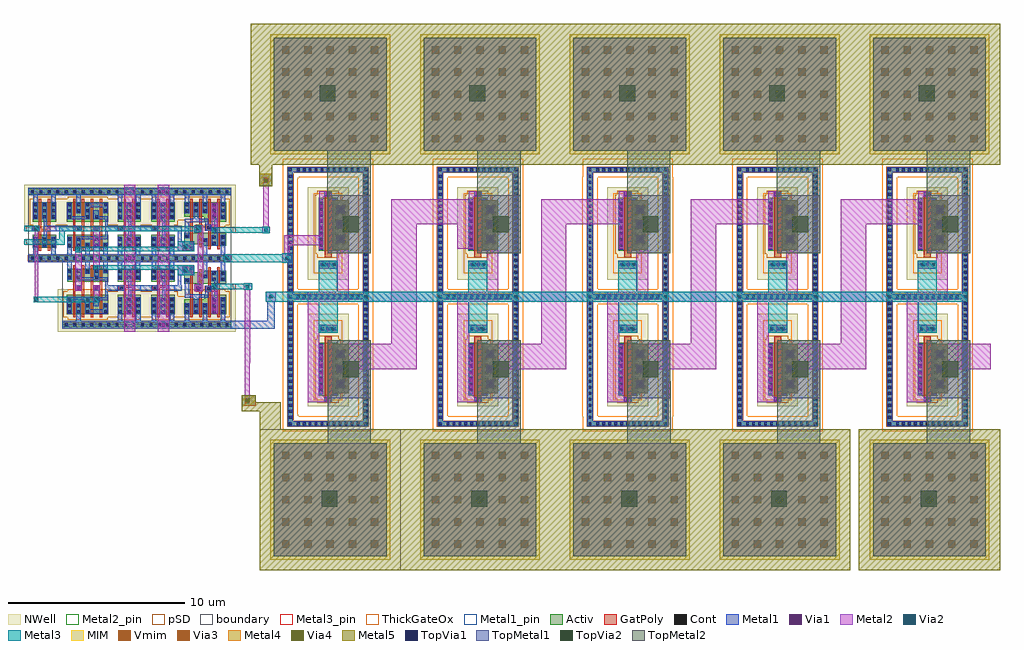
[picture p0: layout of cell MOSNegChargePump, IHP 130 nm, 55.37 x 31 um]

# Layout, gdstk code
import gdstk
lib = gdstk.Library(unit=1e-6, precision=1e-09)
def R(c, l, rs):  # rectangles x0, y0, x1, y1
    for r in rs: c.add(gdstk.rectangle(r[:2], r[2:], *l))
def A(c, l, x, y, w, h, nx, ny, dx, dy):  # array of equal rectangles
    R(c, l, [(x+i*dx, y+j*dy, x+i*dx+w, y+j*dy+h) for i in range(nx) for j in range(ny)])
Activ = (1, 0)
GatPoly = (5, 0)
Cont = (6, 0)
Metal1 = (8, 0)
Metal1_pin = (8, 2)
Metal2 = (10, 0)
Metal2_pin = (10, 2)
pSD = (14, 0)
Via1 = (19, 0)
Via2 = (29, 0)
Metal3 = (30, 0)
Metal3_pin = (30, 2)
NWell = (31, 0)
MIM = (36, 0)
ThickGateOx = (44, 0)
Via3 = (49, 0)
Metal4 = (50, 0)
Via4 = (66, 0)
Metal5 = (67, 0)
TopVia1 = (125, 0)
TopMetal1 = (126, 0)
Vmim = (129, 0)
TopVia2 = (133, 0)
TopMetal2 = (134, 0)
boundary = (189, 4)

sg13g2_nor2_2 = lib.new_cell('sg13g2_nor2_2')
R(sg13g2_nor2_2, Activ, [(0,-0.15,2.88,0.15), (0.28,0.59,2.62,1.33), (0.26,2.06,2.62,3.18), (0,3.63,2.88,3.93)])
A(sg13g2_nor2_2, GatPoly, 0.62, 0.41, 0.13, 1.12, 4, 1, 0.51, 0)
A(sg13g2_nor2_2, GatPoly, 0.62, 1.84, 0.13, 1.52, 4, 1, 0.51, 0)
R(sg13g2_nor2_2, GatPoly, [(0.62,1.53,1.26,1.84), (1.64,1.53,2.28,1.84)])
A(sg13g2_nor2_2, Cont, 0.16, -0.08, 0.16, 0.16, 6, 2, 0.48, 3.78)
A(sg13g2_nor2_2, Cont, 0.35, 0.66, 0.16, 0.16, 5, 1, 0.51, 0)
A(sg13g2_nor2_2, Cont, 0.35, 2.61, 0.16, 0.16, 3, 2, 0.51, 0.34)
R(sg13g2_nor2_2, Cont, [(0.35,1,0.51,1.16), (0.86,1,1.02,1.16), (1.88,1,2.04,1.16), (0.86,1.605,1.02,1.765), (1.88,1.605,2.04,1.765), (0.35,2.27,0.51,2.43), (1.37,2.27,1.53,2.43), (1.88,2.27,2.04,2.43), (2.39,2.61,2.55,2.77), (2.39,2.95,2.55,3.11)])
R(sg13g2_nor2_2, Metal1, [(0,-0.22,2.88,0.22), (0.3,0.22,0.56,1.21), (1.32,0.22,1.58,0.87), (2.34,0.22,2.6,0.865), (1.83,0.59,2.085,1.075), (0.81,0.61,1.065,1.075), (0.81,1.075,2.6,1.24), (2.44,1.24,2.6,2.22), (0.75,1.53,1.13,1.84), (1.77,1.53,2.15,1.84), (0.3,2.22,1.58,2.38), (1.78,2.22,2.6,2.38), (0.3,2.38,0.56,3.16), (1.32,2.38,1.58,2.9), (1.78,2.38,2.09,2.72), (0.81,2.56,1.07,3.56), (2.34,2.56,2.6,2.9), (1.32,2.9,2.6,3.16), (0,3.56,2.88,4)])
R(sg13g2_nor2_2, Metal1_pin, [(0,-0.22,2.88,0.22), (0.75,1.53,1.13,1.84), (1.77,1.53,2.15,1.84), (1.78,2.22,2.09,2.72), (0,3.56,2.88,4)])
R(sg13g2_nor2_2, pSD, [(-0.03,-0.18,2.91,0.18), (0.32,1.76,2.58,1.88), (0.08,1.88,2.8,3.36), (0.32,3.36,2.58,3.48)])
R(sg13g2_nor2_2, NWell, [(-0.24,1.75,3.12,4.17)])
R(sg13g2_nor2_2, boundary, [(0,0,2.88,3.78)])
sg13g2_nor2_2.add(gdstk.Label('A', (0.94,1.685), layer=8, texttype=25))
sg13g2_nor2_2.add(gdstk.Label('VDD', (1.44,3.78), layer=8, texttype=25))
sg13g2_nor2_2.add(gdstk.Label('Y', (1.935,2.47), layer=8, texttype=25))
sg13g2_nor2_2.add(gdstk.Label('VSS', (1.44,0), layer=8, texttype=25))
sg13g2_nor2_2.add(gdstk.Label('B', (1.96,1.685), layer=8, texttype=25))

sg13g2_inv_2 = lib.new_cell('sg13g2_inv_2')
R(sg13g2_inv_2, Activ, [(0,-0.15,1.92,0.15), (0.265,0.59,1.585,1.33), (0.265,2.06,1.59,3.18), (0,3.63,1.92,3.93)])
R(sg13g2_inv_2, GatPoly, [(0.605,0.41,0.735,1.52), (1.115,0.41,1.245,1.52), (0.305,1.52,1.245,1.67), (0.305,1.67,0.735,1.85), (1.115,1.67,1.245,3.36), (0.605,1.85,0.735,3.36)])
A(sg13g2_inv_2, Cont, 0.16, -0.08, 0.16, 0.16, 4, 2, 0.48, 3.78)
A(sg13g2_inv_2, Cont, 0.335, 0.66, 0.16, 0.16, 3, 2, 0.51, 0.34)
A(sg13g2_inv_2, Cont, 0.335, 2.27, 0.16, 0.16, 1, 3, 0, 0.34)
A(sg13g2_inv_2, Cont, 0.845, 2.27, 0.16, 0.16, 1, 3, 0, 0.34)
A(sg13g2_inv_2, Cont, 1.36, 2.27, 0.16, 0.16, 1, 3, 0, 0.34)
R(sg13g2_inv_2, Cont, [(0.39,1.605,0.55,1.765)])
R(sg13g2_inv_2, Metal1, [(0,-0.22,1.92,0.22), (0.285,0.22,0.545,1.21), (1.305,0.22,1.565,1.21), (0.795,0.61,1.055,1.21), (0.87,1.21,1.055,1.52), (0.255,1.52,0.635,1.85), (0.87,1.52,1.59,1.85), (0.87,1.85,1.055,2.22), (0.285,2.22,0.545,3.56), (0.795,2.22,1.055,3.18), (1.31,2.22,1.57,3.56), (0,3.56,1.92,4)])
R(sg13g2_inv_2, Metal1_pin, [(0,-0.22,1.92,0.22), (0.255,1.52,0.635,1.85), (0.87,1.52,1.59,1.85), (0,3.56,1.92,4)])
R(sg13g2_inv_2, pSD, [(-0.03,-0.18,1.95,0.18), (0.305,1.76,1.545,1.88), (0.085,1.88,1.77,3.36), (0.305,3.36,1.545,3.48)])
R(sg13g2_inv_2, NWell, [(-0.24,1.75,2.16,4.17)])
R(sg13g2_inv_2, boundary, [(0,0,1.92,3.78)])
sg13g2_inv_2.add(gdstk.Label('VSS', (0.96,0), layer=8, texttype=25))
sg13g2_inv_2.add(gdstk.Label('VDD', (0.96,3.78), layer=8, texttype=25))
sg13g2_inv_2.add(gdstk.Label('Y', (1.23,1.685), layer=8, texttype=25))
sg13g2_inv_2.add(gdstk.Label('A', (0.445,1.685), layer=8, texttype=25))

sg13g2_and2_2 = lib.new_cell('sg13g2_and2_2')
R(sg13g2_and2_2, Activ, [(0,-0.15,2.88,0.15), (1.355,0.7,2.605,0.8), (0.225,0.8,2.605,1.44), (1.355,2.06,2.605,2.34), (0.225,2.34,2.605,3.18), (0,3.63,2.88,3.93)])
A(sg13g2_and2_2, GatPoly, 1.075, 1.9, 0.13, 1.46, 3, 1, 0.51, 0)
R(sg13g2_and2_2, GatPoly, [(0.105,0.41,0.775,0.73), (1.585,0.52,1.715,1.57), (2.095,0.52,2.225,1.57), (1.075,0.62,1.205,1.57), (0.565,0.73,0.695,3.36), (0.875,1.57,1.205,1.9), (1.385,1.57,2.225,1.9)])
A(sg13g2_and2_2, Cont, 0.16, -0.08, 0.16, 0.16, 6, 2, 0.48, 3.78)
A(sg13g2_and2_2, Cont, 0.295, 2.61, 0.16, 0.16, 5, 2, 0.51, 0.34)
R(sg13g2_and2_2, Cont, [(0.19,0.48,0.35,0.64), (0.53,0.48,0.69,0.64), (1.825,0.77,1.985,0.93), (2.335,0.77,2.495,0.93), (1.315,0.935,1.475,1.095), (1.825,1.11,1.985,1.27), (2.335,1.11,2.495,1.27), (0.295,1.18,0.455,1.34), (0.96,1.655,1.12,1.815), (1.53,1.655,1.69,1.815), (1.825,2.27,1.985,2.43), (2.335,2.27,2.495,2.43)])
R(sg13g2_and2_2, Metal1, [(0,-0.22,2.88,0.22), (1.265,0.22,1.525,1.145), (2.285,0.22,2.545,1.32), (0.105,0.405,0.78,0.96), (1.775,0.72,2.105,1.32), (0.245,1.14,0.505,2.05), (1.92,1.32,2.105,2.22), (0.78,1.47,1.17,1.87), (1.4,1.57,1.74,1.9), (1.4,1.9,1.56,2.05), (0.245,2.05,1.56,2.24), (1.775,2.22,2.105,3.16), (2.285,2.22,2.545,3.56), (0.755,2.24,1.015,3.16), (0.245,2.56,0.505,3.56), (1.265,2.56,1.525,3.56), (0,3.56,2.88,4)])
R(sg13g2_and2_2, Metal1_pin, [(0,-0.22,2.88,0.22), (0.105,0.405,0.78,0.96), (0.78,1.47,1.17,1.87), (1.775,2.22,2.105,3.16), (0,3.56,2.88,4)])
R(sg13g2_and2_2, pSD, [(-0.03,-0.18,2.91,0.18), (1.285,1.76,2.525,1.88), (1.175,1.88,2.785,2.04), (0.265,2.04,2.785,2.16), (0.045,2.16,2.785,3.36), (0.265,3.36,2.525,3.48)])
R(sg13g2_and2_2, NWell, [(-0.24,1.75,3.12,4.17)])
R(sg13g2_and2_2, boundary, [(0,0,2.88,3.78)])
sg13g2_and2_2.add(gdstk.Label('X', (1.94,2.69), layer=8, texttype=25))
sg13g2_and2_2.add(gdstk.Label('VSS', (1.44,0), layer=8, texttype=25))
sg13g2_and2_2.add(gdstk.Label('VDD', (1.44,3.78), layer=8, texttype=25))
sg13g2_and2_2.add(gdstk.Label('B', (0.975,1.67), layer=8, texttype=25))
sg13g2_and2_2.add(gdstk.Label('A', (0.442,0.682), layer=8, texttype=25))

nonovclkgen = lib.new_cell('NonOvCLKGen')
R(nonovclkgen, Metal1, [(16.45,20.35,16.77,20.64), (19.39,21.17,19.62,22.01), (13.29,22.43,14.37,22.76), (15.32,22.43,16.29,22.76), (17.17,22.43,17.63,22.76), (18.43,22.48,18.66,22.74), (11.69,22.49,11.9,22.7), (12.71,22.49,12.91,22.69), (17.4,22.76,17.62,23.32), (17.4,23.32,18.35,23.88), (14.53,24.14,14.85,24.43), (17.4,24.68,18.35,25.24), (17.4,25.24,17.63,25.8), (10.52,25.8,11.98,26.13), (13.29,25.8,14.37,26.13), (15.32,25.8,16.29,26.13), (17.24,25.8,17.63,26.13), (18.41,25.81,18.67,26.09), (9.29,25.86,9.51,26.07), (12.71,25.87,12.91,26.07), (19.4,26.55,19.63,27.39), (16.45,27.91,16.77,28.2)])
R(nonovclkgen, Metal2, [(14.37,20.11,15.01,28.45), (16.29,20.11,16.93,28.45), (19.34,21.12,19.68,22.84), (9.29,21.78,9.51,25.8), (12.66,21.78,12.96,22.44), (18.35,22.41,18.87,22.81), (11.6,22.44,11.98,24.92), (12.62,22.44,13,22.75), (18.56,22.81,18.87,25.75), (17.4,23.32,18.35,23.88), (12.62,23.64,13,26.12), (17.4,24.68,18.35,25.24), (19.34,25.72,19.68,27.44), (18.35,25.75,18.87,26.15), (9.12,25.8,9.57,26.13)])
R(nonovclkgen, Metal2_pin, [(14.37,28.28,15.01,28.45), (16.29,28.28,16.93,28.45)])
R(nonovclkgen, pSD, [(13.65,20.92,13.815,22.4), (15.5,20.92,15.735,22.4), (17.42,20.92,17.615,22.12), (10.7,26.16,10.93,27.64), (13.65,26.16,13.815,27.64), (15.5,26.16,15.735,27.64), (17.42,26.44,17.615,27.64)])
R(nonovclkgen, Via1, [(16.515,20.4,16.705,20.59), (19.41,21.29,19.6,21.48), (19.41,21.7,19.6,21.89), (12.715,22.495,12.905,22.685), (11.7,22.5,11.89,22.69), (18.45,22.515,18.64,22.705), (17.765,23.5,17.955,23.69), (14.595,24.19,14.785,24.38), (17.75,24.85,17.94,25.04), (18.445,25.855,18.635,26.045), (9.305,25.87,9.495,26.06), (12.715,25.875,12.905,26.065), (19.42,26.67,19.61,26.86), (19.42,27.08,19.61,27.27), (16.515,27.96,16.705,28.15)])
R(nonovclkgen, Via2, [(12.715,21.835,12.905,22.025), (9.305,21.845,9.495,22.035), (19.42,22.58,19.61,22.77), (17.765,23.5,17.955,23.69), (12.715,23.665,12.905,23.855), (11.695,24.705,11.885,24.895), (17.75,24.85,17.94,25.04), (19.42,25.79,19.61,25.98), (18.445,25.855,18.635,26.045), (9.305,25.87,9.495,26.06)])
R(nonovclkgen, Metal3, [(9.24,21.78,13,22.09), (19.34,22.51,20.69,22.82), (17.4,23.32,18.35,23.64), (12.62,23.64,18.35,23.88), (11.6,24.62,11.98,24.68), (11.6,24.68,18.35,24.92), (17.4,24.92,18.35,25.24), (8.69,25.05,11.01,25.36), (10.7,25.36,11.01,25.81), (19.34,25.72,20.69,26.03), (18.35,25.75,18.74,25.81), (8.69,25.81,9.56,26.12), (10.7,25.81,18.74,26.09), (18.35,26.09,18.74,26.15)])
R(nonovclkgen, Metal3_pin, [(20.52,22.51,20.69,22.82), (8.69,25.05,8.85,25.36), (20.54,25.72,20.69,26.03), (8.69,25.81,8.85,26.12)])
nonovclkgen.add(gdstk.Reference(sg13g2_nor2_2, (10.85,24.28), x_reflection=True))
nonovclkgen.add(gdstk.Reference(sg13g2_nor2_2, (10.85,24.28)))
nonovclkgen.add(gdstk.Reference(sg13g2_inv_2, (15.65,24.28), x_reflection=True))
nonovclkgen.add(gdstk.Reference(sg13g2_inv_2, (13.73,24.28), x_reflection=True))
nonovclkgen.add(gdstk.Reference(sg13g2_inv_2, (15.65,24.28)))
nonovclkgen.add(gdstk.Reference(sg13g2_inv_2, (13.73,24.28)))
nonovclkgen.add(gdstk.Reference(sg13g2_inv_2, (8.93,24.28)))
nonovclkgen.add(gdstk.Reference(sg13g2_and2_2, (17.57,24.28), x_reflection=True))
nonovclkgen.add(gdstk.Reference(sg13g2_and2_2, (17.57,24.28)))
nonovclkgen.add(gdstk.Label('CLK', (8.77,25.965), layer=30, texttype=25))
nonovclkgen.add(gdstk.Label('ENABLE', (8.77,25.205), layer=30, texttype=25))
nonovclkgen.add(gdstk.Label('CLKA', (20.615,25.875), layer=30, texttype=25))
nonovclkgen.add(gdstk.Label('CLKB', (20.605,22.665), layer=30, texttype=25))
nonovclkgen.add(gdstk.Label('VSS', (14.69,28.365), layer=10, texttype=25))
nonovclkgen.add(gdstk.Label('VDD', (16.61,28.365), layer=10, texttype=25))

cap_cmim_tqjpta = lib.new_cell('cap_cmim_TQJPTA')
R(cap_cmim_tqjpta, MIM, [(-3.4,-3.4,3.4,3.4)])
R(cap_cmim_tqjpta, Metal5, [(-4,-4,4,4)])
R(cap_cmim_tqjpta, TopMetal1, [(-3.2,-3.2,3.2,3.2)])
A(cap_cmim_tqjpta, Vmim, -2.73, -2.73, 0.42, 0.42, 5, 5, 1.26, 1.26)
R(cap_cmim_tqjpta, boundary, [(-4,-4,4,4)])
cap_cmim_tqjpta.add(gdstk.Label('C1', (0,0), layer=126, texttype=25))
cap_cmim_tqjpta.add(gdstk.Label('C2', (3.5,0), layer=67, texttype=25))

mosnegchargepump = lib.new_cell('MOSNegChargePump')
A(mosnegchargepump, Activ, 45.85, 8.16, 4.58, 0.3, 5, 2, 8.5, 14.41)
A(mosnegchargepump, Activ, 47.6, 9.91, 1.08, 3, 5, 2, 8.5, 8.21)
A(mosnegchargepump, Activ, 47.6, 13.47, 1.08, 0.45, 5, 2, 8.5, 3.64)
A(mosnegchargepump, Activ, 45.85, 15.36, 4.58, 0.31, 5, 1, 8.5, 0)
R(mosnegchargepump, Activ, [(45.85,8.46,46.15,15.36), (50.13,8.46,50.43,15.36), (54.35,8.46,54.65,15.36), (58.63,8.46,58.93,15.36), (62.85,8.46,63.15,15.36), (67.13,8.46,67.43,15.36), (71.35,8.46,71.65,15.36), (75.63,8.46,75.93,15.36), (79.85,8.46,80.15,15.36), (84.13,8.46,84.43,15.36), (45.85,15.67,46.15,22.57), (50.13,15.67,50.43,22.57), (54.35,15.67,54.65,22.57), (58.63,15.67,58.93,22.57), (62.85,15.67,63.15,22.57), (67.13,15.67,67.43,22.57), (71.35,15.67,71.65,22.57), (75.63,15.67,75.93,22.57), (79.85,15.67,80.15,22.57), (84.13,15.67,84.43,22.57)])
A(mosnegchargepump, GatPoly, 47.94, 9.54, 0.4, 3.74, 5, 2, 8.5, 8.21)
A(mosnegchargepump, Cont, 46.36, 8.23, 0.16, 0.16, 11, 2, 0.34, 7.21)
A(mosnegchargepump, Cont, 54.86, 8.23, 0.16, 0.16, 11, 2, 0.34, 7.21)
A(mosnegchargepump, Cont, 63.36, 8.23, 0.16, 0.16, 11, 2, 0.34, 7.21)
A(mosnegchargepump, Cont, 71.86, 8.23, 0.16, 0.16, 11, 2, 0.34, 7.21)
A(mosnegchargepump, Cont, 80.36, 8.23, 0.16, 0.16, 11, 2, 0.34, 7.21)
A(mosnegchargepump, Cont, 45.92, 8.605, 0.16, 0.16, 1, 20, 0, 0.34)
A(mosnegchargepump, Cont, 50.2, 8.605, 0.16, 0.16, 1, 20, 0, 0.34)
A(mosnegchargepump, Cont, 54.42, 8.605, 0.16, 0.16, 1, 20, 0, 0.34)
A(mosnegchargepump, Cont, 58.7, 8.605, 0.16, 0.16, 1, 20, 0, 0.34)
A(mosnegchargepump, Cont, 62.92, 8.605, 0.16, 0.16, 1, 20, 0, 0.34)
A(mosnegchargepump, Cont, 67.2, 8.605, 0.16, 0.16, 1, 20, 0, 0.34)
A(mosnegchargepump, Cont, 71.42, 8.605, 0.16, 0.16, 1, 20, 0, 0.34)
A(mosnegchargepump, Cont, 75.7, 8.605, 0.16, 0.16, 1, 20, 0, 0.34)
A(mosnegchargepump, Cont, 79.92, 8.605, 0.16, 0.16, 1, 20, 0, 0.34)
A(mosnegchargepump, Cont, 84.2, 8.605, 0.16, 0.16, 1, 20, 0, 0.34)
A(mosnegchargepump, Cont, 48.06, 9.61, 0.16, 0.16, 5, 2, 8.5, 11.65)
A(mosnegchargepump, Cont, 47.67, 10.14, 0.16, 0.16, 1, 8, 0, 0.34)
A(mosnegchargepump, Cont, 48.45, 10.14, 0.16, 0.16, 1, 8, 0, 0.34)
A(mosnegchargepump, Cont, 56.17, 10.14, 0.16, 0.16, 1, 8, 0, 0.34)
A(mosnegchargepump, Cont, 56.95, 10.14, 0.16, 0.16, 1, 8, 0, 0.34)
A(mosnegchargepump, Cont, 64.67, 10.14, 0.16, 0.16, 1, 8, 0, 0.34)
A(mosnegchargepump, Cont, 65.45, 10.14, 0.16, 0.16, 1, 8, 0, 0.34)
A(mosnegchargepump, Cont, 73.17, 10.14, 0.16, 0.16, 1, 8, 0, 0.34)
A(mosnegchargepump, Cont, 73.95, 10.14, 0.16, 0.16, 1, 8, 0, 0.34)
A(mosnegchargepump, Cont, 81.67, 10.14, 0.16, 0.16, 1, 8, 0, 0.34)
A(mosnegchargepump, Cont, 82.45, 10.14, 0.16, 0.16, 1, 8, 0, 0.34)
A(mosnegchargepump, Cont, 47.725, 13.61, 0.16, 0.16, 3, 2, 0.34, 3.65)
A(mosnegchargepump, Cont, 56.225, 13.61, 0.16, 0.16, 3, 2, 0.34, 3.65)
A(mosnegchargepump, Cont, 64.725, 13.61, 0.16, 0.16, 3, 2, 0.34, 3.65)
A(mosnegchargepump, Cont, 73.225, 13.61, 0.16, 0.16, 3, 2, 0.34, 3.65)
A(mosnegchargepump, Cont, 81.725, 13.61, 0.16, 0.16, 3, 2, 0.34, 3.65)
A(mosnegchargepump, Cont, 45.92, 15.81, 0.16, 0.16, 1, 20, 0, 0.34)
A(mosnegchargepump, Cont, 50.2, 15.81, 0.16, 0.16, 1, 20, 0, 0.34)
A(mosnegchargepump, Cont, 54.42, 15.81, 0.16, 0.16, 1, 20, 0, 0.34)
A(mosnegchargepump, Cont, 58.7, 15.81, 0.16, 0.16, 1, 20, 0, 0.34)
A(mosnegchargepump, Cont, 62.92, 15.81, 0.16, 0.16, 1, 20, 0, 0.34)
A(mosnegchargepump, Cont, 67.2, 15.81, 0.16, 0.16, 1, 20, 0, 0.34)
A(mosnegchargepump, Cont, 71.42, 15.81, 0.16, 0.16, 1, 20, 0, 0.34)
A(mosnegchargepump, Cont, 75.7, 15.81, 0.16, 0.16, 1, 20, 0, 0.34)
A(mosnegchargepump, Cont, 79.92, 15.81, 0.16, 0.16, 1, 20, 0, 0.34)
A(mosnegchargepump, Cont, 84.2, 15.81, 0.16, 0.16, 1, 20, 0, 0.34)
A(mosnegchargepump, Cont, 47.67, 18.35, 0.16, 0.16, 1, 8, 0, 0.34)
A(mosnegchargepump, Cont, 48.45, 18.35, 0.16, 0.16, 1, 8, 0, 0.34)
A(mosnegchargepump, Cont, 56.17, 18.35, 0.16, 0.16, 1, 8, 0, 0.34)
A(mosnegchargepump, Cont, 56.95, 18.35, 0.16, 0.16, 1, 8, 0, 0.34)
A(mosnegchargepump, Cont, 64.67, 18.35, 0.16, 0.16, 1, 8, 0, 0.34)
A(mosnegchargepump, Cont, 65.45, 18.35, 0.16, 0.16, 1, 8, 0, 0.34)
A(mosnegchargepump, Cont, 73.17, 18.35, 0.16, 0.16, 1, 8, 0, 0.34)
A(mosnegchargepump, Cont, 73.95, 18.35, 0.16, 0.16, 1, 8, 0, 0.34)
A(mosnegchargepump, Cont, 81.67, 18.35, 0.16, 0.16, 1, 8, 0, 0.34)
A(mosnegchargepump, Cont, 82.45, 18.35, 0.16, 0.16, 1, 8, 0, 0.34)
A(mosnegchargepump, Cont, 46.36, 22.64, 0.16, 0.16, 11, 1, 0.34, 0)
A(mosnegchargepump, Cont, 54.86, 22.64, 0.16, 0.16, 11, 1, 0.34, 0)
A(mosnegchargepump, Cont, 63.36, 22.64, 0.16, 0.16, 11, 1, 0.34, 0)
A(mosnegchargepump, Cont, 71.86, 22.64, 0.16, 0.16, 11, 1, 0.34, 0)
A(mosnegchargepump, Cont, 80.36, 22.64, 0.16, 0.16, 11, 1, 0.34, 0)
R(mosnegchargepump, Cont, [(45.92,8.23,46.08,8.39), (50.2,8.23,50.36,8.39), (54.42,8.23,54.58,8.39), (58.7,8.23,58.86,8.39), (62.92,8.23,63.08,8.39), (67.2,8.23,67.36,8.39), (71.42,8.23,71.58,8.39), (75.7,8.23,75.86,8.39), (79.92,8.23,80.08,8.39), (84.2,8.23,84.36,8.39), (45.92,15.44,46.08,15.6), (50.2,15.44,50.36,15.6), (54.42,15.44,54.58,15.6), (58.7,15.44,58.86,15.6), (62.92,15.44,63.08,15.6), (67.2,15.44,67.36,15.6), (71.42,15.44,71.58,15.6), (75.7,15.44,75.86,15.6), (79.92,15.44,80.08,15.6), (84.2,15.44,84.36,15.6), (45.92,22.64,46.08,22.8), (50.2,22.64,50.36,22.8), (54.42,22.64,54.58,22.8), (58.7,22.64,58.86,22.8), (62.92,22.64,63.08,22.8), (67.2,22.64,67.36,22.8), (71.42,22.64,71.58,22.8), (75.7,22.64,75.86,22.8), (79.92,22.64,80.08,22.8), (84.2,22.64,84.36,22.8)])
A(mosnegchargepump, Metal1, 45.85, 8.16, 4.58, 0.3, 5, 2, 8.5, 14.41)
A(mosnegchargepump, Metal1, 47.925, 9.585, 0.43, 0.21, 5, 2, 8.5, 11.65)
A(mosnegchargepump, Metal1, 47.62, 9.98, 0.26, 2.86, 5, 2, 8.5, 8.21)
A(mosnegchargepump, Metal1, 48.4, 9.98, 0.26, 0.06, 5, 2, 8.5, 11.01)
A(mosnegchargepump, Metal1, 48.4, 10.04, 0.9, 2.8, 5, 2, 8.5, 8.15)
A(mosnegchargepump, Metal1, 47.6, 13.47, 1.08, 0.45, 5, 2, 8.5, 3.64)
A(mosnegchargepump, Metal1, 50.13, 15.23, 4.52, 0.13, 4, 2, 8.5, 0.44)
R(mosnegchargepump, Metal1, [(45.85,8.46,46.15,15.36), (50.13,8.46,50.43,15.23), (54.35,8.46,54.65,15.23), (58.63,8.46,58.93,15.23), (62.85,8.46,63.15,15.23), (67.13,8.46,67.43,15.23), (71.35,8.46,71.65,15.23), (75.63,8.46,75.93,15.23), (79.85,8.46,80.15,15.23), (84.13,8.46,84.43,15.36), (42.35,13.7,45.12,14.14), (44.68,14.14,45.12,15.23), (44.615,15.23,45.185,15.8), (45.85,15.36,84.43,15.67), (45.85,15.67,46.15,17.43), (84.13,15.67,84.43,22.57), (50.13,15.8,50.43,22.57), (54.35,15.8,54.65,22.57), (58.63,15.8,58.93,22.57), (62.85,15.8,63.15,22.57), (67.13,15.8,67.43,22.57), (71.35,15.8,71.65,22.57), (75.63,15.8,75.93,22.57), (79.85,15.8,80.15,22.57), (45.54,17.43,46.15,17.97), (42.28,17.58,42.55,17.83), (45.85,17.97,46.15,22.57)])
A(mosnegchargepump, Metal2, 46.98, 9.54, 1.29, 0.31, 5, 1, 8.5, 0)
A(mosnegchargepump, Metal2, 46.98, 9.85, 0.9, 2.93, 5, 1, 8.5, 0)
A(mosnegchargepump, Metal2, 48.4, 10.04, 0.9, 1.37, 5, 1, 8.5, 0)
A(mosnegchargepump, Metal2, 48.4, 11.41, 4.76, 1.43, 4, 1, 8.5, 0)
A(mosnegchargepump, Metal2, 46.98, 12.78, 0.67, 2.45, 5, 1, 8.5, 0)
A(mosnegchargepump, Metal2, 51.725, 12.84, 1.435, 6.78, 4, 1, 8.5, 0)
A(mosnegchargepump, Metal2, 48.08, 13.47, 0.6, 0.45, 5, 1, 8.5, 0)
A(mosnegchargepump, Metal2, 46.98, 15.23, 2.32, 0.57, 5, 1, 8.5, 0)
A(mosnegchargepump, Metal2, 48.63, 15.8, 0.67, 2.39, 5, 1, 8.5, 0)
A(mosnegchargepump, Metal2, 47.6, 17.11, 0.6, 0.45, 5, 1, 8.5, 0)
A(mosnegchargepump, Metal2, 48.4, 18.19, 0.9, 2.8, 5, 1, 8.5, 0)
A(mosnegchargepump, Metal2, 64.62, 18.25, 0.26, 1.37, 3, 1, 8.5, 0)
A(mosnegchargepump, Metal2, 51.725, 19.62, 4.655, 1.43, 4, 1, 8.5, 0)
A(mosnegchargepump, Metal2, 56.12, 21.05, 0.26, 0.13, 4, 1, 8.5, 0)
A(mosnegchargepump, Metal2, 56.12, 21.18, 0.65, 0.31, 4, 1, 8.5, 0)
R(mosnegchargepump, Metal2, [(43.41,9.44,43.71,11.78), (82.4,11.41,85.725,12.84), (43.41,11.78,43.72,13.24), (43.42,13.24,43.72,15.92), (44.615,15.23,45.185,15.8), (43.36,15.92,43.85,16.29), (45.54,17.43,46.08,17.97), (42.22,17.48,42.64,17.92), (45.655,17.97,45.965,18.45), (47.62,18.25,47.88,18.45), (55.48,18.25,56.38,19.62), (45.65,18.45,47.88,19), (47.65,19,47.88,21.18), (44.4,19.11,44.83,19.48), (44.46,19.48,44.77,22.29), (51.725,21.05,53.155,21.055), (47.65,21.18,48.27,21.49)])
A(mosnegchargepump, pSD, 45.82, 8.13, 4.64, 0.36, 5, 2, 8.5, 14.41)
A(mosnegchargepump, pSD, 47.54, 9.51, 1.2, 0.22, 5, 2, 8.5, 3.58)
A(mosnegchargepump, pSD, 47.42, 9.73, 1.44, 3.36, 5, 2, 8.5, 8.21)
A(mosnegchargepump, pSD, 45.82, 15.33, 4.64, 0.37, 5, 1, 8.5, 0)
A(mosnegchargepump, pSD, 47.54, 17.72, 1.2, 0.22, 5, 2, 8.5, 3.58)
R(mosnegchargepump, pSD, [(45.82,8.49,46.18,15.33), (50.1,8.49,50.46,15.33), (54.32,8.49,54.68,15.33), (58.6,8.49,58.96,15.33), (62.82,8.49,63.18,15.33), (67.1,8.49,67.46,15.33), (71.32,8.49,71.68,15.33), (75.6,8.49,75.96,15.33), (79.82,8.49,80.18,15.33), (84.1,8.49,84.46,15.33), (45.82,15.7,46.18,22.54), (50.1,15.7,50.46,22.54), (54.32,15.7,54.68,22.54), (58.6,15.7,58.96,22.54), (62.82,15.7,63.18,22.54), (67.1,15.7,67.46,22.54), (71.32,15.7,71.68,22.54), (75.6,15.7,75.96,22.54), (79.82,15.7,80.18,22.54), (84.1,15.7,84.46,22.54)])
A(mosnegchargepump, Via1, 48.045, 9.595, 0.19, 0.19, 5, 2, 8.5, 11.65)
A(mosnegchargepump, Via1, 47.655, 10.29, 0.19, 0.19, 1, 6, 0, 0.41)
A(mosnegchargepump, Via1, 48.54, 10.29, 0.19, 0.19, 1, 6, 0, 0.41)
A(mosnegchargepump, Via1, 48.95, 10.29, 0.19, 0.19, 1, 6, 0, 0.41)
A(mosnegchargepump, Via1, 56.155, 10.29, 0.19, 0.19, 1, 6, 0, 0.41)
A(mosnegchargepump, Via1, 57.04, 10.29, 0.19, 0.19, 1, 6, 0, 0.41)
A(mosnegchargepump, Via1, 57.45, 10.29, 0.19, 0.19, 1, 6, 0, 0.41)
A(mosnegchargepump, Via1, 64.655, 10.29, 0.19, 0.19, 1, 6, 0, 0.41)
A(mosnegchargepump, Via1, 65.54, 10.29, 0.19, 0.19, 1, 6, 0, 0.41)
A(mosnegchargepump, Via1, 65.95, 10.29, 0.19, 0.19, 1, 6, 0, 0.41)
A(mosnegchargepump, Via1, 73.155, 10.29, 0.19, 0.19, 1, 6, 0, 0.41)
A(mosnegchargepump, Via1, 74.04, 10.29, 0.19, 0.19, 1, 6, 0, 0.41)
A(mosnegchargepump, Via1, 74.45, 10.29, 0.19, 0.19, 1, 6, 0, 0.41)
A(mosnegchargepump, Via1, 81.655, 10.29, 0.19, 0.19, 1, 6, 0, 0.41)
A(mosnegchargepump, Via1, 82.54, 10.29, 0.19, 0.19, 1, 6, 0, 0.41)
A(mosnegchargepump, Via1, 82.95, 10.29, 0.19, 0.19, 1, 6, 0, 0.41)
A(mosnegchargepump, Via1, 48.285, 13.595, 0.19, 0.19, 5, 1, 8.5, 0)
A(mosnegchargepump, Via1, 47.82, 17.245, 0.19, 0.19, 5, 1, 8.5, 0)
A(mosnegchargepump, Via1, 47.655, 18.5, 0.19, 0.19, 1, 6, 0, 0.41)
A(mosnegchargepump, Via1, 48.54, 18.5, 0.19, 0.19, 1, 6, 0, 0.41)
A(mosnegchargepump, Via1, 48.95, 18.5, 0.19, 0.19, 1, 6, 0, 0.41)
A(mosnegchargepump, Via1, 56.155, 18.5, 0.19, 0.19, 1, 6, 0, 0.41)
A(mosnegchargepump, Via1, 57.04, 18.5, 0.19, 0.19, 1, 6, 0, 0.41)
A(mosnegchargepump, Via1, 57.45, 18.5, 0.19, 0.19, 1, 6, 0, 0.41)
A(mosnegchargepump, Via1, 64.655, 18.5, 0.19, 0.19, 1, 6, 0, 0.41)
A(mosnegchargepump, Via1, 65.54, 18.5, 0.19, 0.19, 1, 6, 0, 0.41)
A(mosnegchargepump, Via1, 65.95, 18.5, 0.19, 0.19, 1, 6, 0, 0.41)
A(mosnegchargepump, Via1, 73.155, 18.5, 0.19, 0.19, 1, 6, 0, 0.41)
A(mosnegchargepump, Via1, 74.04, 18.5, 0.19, 0.19, 1, 6, 0, 0.41)
A(mosnegchargepump, Via1, 74.45, 18.5, 0.19, 0.19, 1, 6, 0, 0.41)
A(mosnegchargepump, Via1, 81.655, 18.5, 0.19, 0.19, 1, 6, 0, 0.41)
A(mosnegchargepump, Via1, 82.54, 18.5, 0.19, 0.19, 1, 6, 0, 0.41)
A(mosnegchargepump, Via1, 82.95, 18.5, 0.19, 0.19, 1, 6, 0, 0.41)
R(mosnegchargepump, Via1, [(44.805,15.43,44.995,15.62), (45.715,17.605,45.905,17.795), (42.32,17.61,42.51,17.8)])
A(mosnegchargepump, Via2, 48.54, 10.29, 0.19, 0.19, 1, 6, 0, 0.41)
A(mosnegchargepump, Via2, 48.95, 10.29, 0.19, 0.19, 1, 6, 0, 0.41)
A(mosnegchargepump, Via2, 57.04, 10.29, 0.19, 0.19, 1, 6, 0, 0.41)
A(mosnegchargepump, Via2, 57.45, 10.29, 0.19, 0.19, 1, 6, 0, 0.41)
A(mosnegchargepump, Via2, 65.54, 10.29, 0.19, 0.19, 1, 6, 0, 0.41)
A(mosnegchargepump, Via2, 65.95, 10.29, 0.19, 0.19, 1, 6, 0, 0.41)
A(mosnegchargepump, Via2, 74.04, 10.29, 0.19, 0.19, 1, 6, 0, 0.41)
A(mosnegchargepump, Via2, 74.45, 10.29, 0.19, 0.19, 1, 6, 0, 0.41)
A(mosnegchargepump, Via2, 82.54, 10.29, 0.19, 0.19, 1, 6, 0, 0.41)
A(mosnegchargepump, Via2, 82.95, 10.29, 0.19, 0.19, 1, 6, 0, 0.41)
A(mosnegchargepump, Via2, 48.285, 13.595, 0.19, 0.19, 5, 1, 8.5, 0)
A(mosnegchargepump, Via2, 47.82, 17.245, 0.19, 0.19, 5, 1, 8.5, 0)
A(mosnegchargepump, Via2, 48.54, 18.5, 0.19, 0.19, 1, 6, 0, 0.41)
A(mosnegchargepump, Via2, 48.95, 18.5, 0.19, 0.19, 1, 6, 0, 0.41)
A(mosnegchargepump, Via2, 57.04, 18.5, 0.19, 0.19, 1, 6, 0, 0.41)
A(mosnegchargepump, Via2, 57.45, 18.5, 0.19, 0.19, 1, 6, 0, 0.41)
A(mosnegchargepump, Via2, 65.54, 18.5, 0.19, 0.19, 1, 6, 0, 0.41)
A(mosnegchargepump, Via2, 65.95, 18.5, 0.19, 0.19, 1, 6, 0, 0.41)
A(mosnegchargepump, Via2, 74.04, 18.5, 0.19, 0.19, 1, 6, 0, 0.41)
A(mosnegchargepump, Via2, 74.45, 18.5, 0.19, 0.19, 1, 6, 0, 0.41)
A(mosnegchargepump, Via2, 82.54, 18.5, 0.19, 0.19, 1, 6, 0, 0.41)
A(mosnegchargepump, Via2, 82.95, 18.5, 0.19, 0.19, 1, 6, 0, 0.41)
R(mosnegchargepump, Via2, [(43.475,9.525,43.665,9.715), (44.805,15.43,44.995,15.62), (43.48,15.995,43.67,16.185), (45.715,17.605,45.905,17.795), (42.32,17.61,42.51,17.8), (44.52,19.2,44.71,19.39), (44.515,22.015,44.705,22.205)])
A(mosnegchargepump, Metal3, 48.4, 10.04, 0.9, 2.8, 5, 2, 8.5, 8.15)
A(mosnegchargepump, Metal3, 47.6, 13.47, 1.08, 1.76, 5, 2, 8.5, 2.33)
R(mosnegchargepump, Metal3, [(43.23,9.34,44.04,9.93), (44.615,15.23,84.43,15.8), (43.36,15.92,43.85,15.93), (42.71,15.93,43.85,16.24), (43.36,16.24,43.85,16.29), (45.54,17.43,46.08,17.48), (42.22,17.48,46.08,17.92), (45.54,17.92,46.08,17.97), (44.4,19.11,44.83,19.14), (42.84,19.14,44.83,19.45), (44.4,19.45,44.83,19.48), (44.25,21.77,44.97,22.49)])
A(mosnegchargepump, NWell, 46.98, 9.29, 2.32, 5.25, 5, 2, 8.5, 7.2)
A(mosnegchargepump, MIM, 53.36, 0.6, 6.8, 6.8, 4, 1, 8.5, 0)
A(mosnegchargepump, MIM, 44.86, 23.6, 6.8, 6.8, 5, 1, 8.5, 0)
A(mosnegchargepump, ThickGateOx, 46.42, 7.88, 4.28, 0.005, 5, 1, 8.5, 0)
A(mosnegchargepump, ThickGateOx, 46.335, 7.885, 4.365, 0.005, 5, 1, 8.5, 0)
A(mosnegchargepump, ThickGateOx, 45.58, 7.89, 5.12, 0.755, 5, 1, 8.5, 0)
A(mosnegchargepump, ThickGateOx, 45.575, 8.645, 5.13, 0.085, 5, 1, 8.5, 0)
A(mosnegchargepump, ThickGateOx, 45.57, 8.73, 5.14, 0.01, 5, 1, 8.5, 0)
A(mosnegchargepump, ThickGateOx, 45.57, 8.74, 0.945, 0.005, 5, 1, 8.5, 0)
A(mosnegchargepump, ThickGateOx, 49.845, 8.74, 0.865, 0.085, 5, 1, 8.5, 0)
A(mosnegchargepump, ThickGateOx, 45.57, 8.745, 0.865, 0.08, 5, 1, 8.5, 0)
A(mosnegchargepump, ThickGateOx, 47.33, 9.64, 1.62, 4.55, 5, 2, 8.5, 7.2)
A(mosnegchargepump, ThickGateOx, 45.57, 15.085, 5.14, 0.86, 5, 1, 8.5, 0)
A(mosnegchargepump, ThickGateOx, 45.575, 22.3, 5.13, 0.095, 5, 1, 8.5, 0)
A(mosnegchargepump, ThickGateOx, 45.58, 22.395, 5.12, 0.945, 5, 1, 8.5, 0)
R(mosnegchargepump, ThickGateOx, [(45.57,8.825,46.43,15.085), (49.85,8.825,50.71,15.085), (54.07,8.825,54.93,15.085), (58.35,8.825,59.21,15.085), (62.57,8.825,63.43,15.085), (66.85,8.825,67.71,15.085), (71.07,8.825,71.93,15.085), (75.35,8.825,76.21,15.085), (79.57,8.825,80.43,15.085), (83.85,8.825,84.71,15.085), (45.57,15.945,46.43,22.205), (49.85,15.945,50.71,22.205), (54.07,15.945,54.93,22.205), (58.35,15.945,59.21,22.205), (62.57,15.945,63.43,22.205), (66.85,15.945,67.71,22.205), (71.07,15.945,71.93,22.205), (75.35,15.945,76.21,22.205), (79.57,15.945,80.43,22.205), (83.85,15.945,84.71,22.205), (45.57,22.205,46.435,22.3), (49.845,22.205,50.71,22.3), (54.07,22.205,54.935,22.3), (58.345,22.205,59.21,22.3), (62.57,22.205,63.435,22.3), (66.845,22.205,67.71,22.3), (71.07,22.205,71.935,22.3), (75.345,22.205,76.21,22.3), (79.57,22.205,80.435,22.3), (83.845,22.205,84.71,22.3)])
A(mosnegchargepump, Via3, 48.54, 10.29, 0.19, 0.19, 1, 6, 0, 0.41)
A(mosnegchargepump, Via3, 48.95, 10.29, 0.19, 0.19, 1, 6, 0, 0.41)
A(mosnegchargepump, Via3, 57.04, 10.29, 0.19, 0.19, 1, 6, 0, 0.41)
A(mosnegchargepump, Via3, 57.45, 10.29, 0.19, 0.19, 1, 6, 0, 0.41)
A(mosnegchargepump, Via3, 65.54, 10.29, 0.19, 0.19, 1, 6, 0, 0.41)
A(mosnegchargepump, Via3, 65.95, 10.29, 0.19, 0.19, 1, 6, 0, 0.41)
A(mosnegchargepump, Via3, 74.04, 10.29, 0.19, 0.19, 1, 6, 0, 0.41)
A(mosnegchargepump, Via3, 74.45, 10.29, 0.19, 0.19, 1, 6, 0, 0.41)
A(mosnegchargepump, Via3, 82.54, 10.29, 0.19, 0.19, 1, 6, 0, 0.41)
A(mosnegchargepump, Via3, 82.95, 10.29, 0.19, 0.19, 1, 6, 0, 0.41)
A(mosnegchargepump, Via3, 48.54, 18.5, 0.19, 0.19, 1, 6, 0, 0.41)
A(mosnegchargepump, Via3, 48.95, 18.5, 0.19, 0.19, 1, 6, 0, 0.41)
A(mosnegchargepump, Via3, 57.04, 18.5, 0.19, 0.19, 1, 6, 0, 0.41)
A(mosnegchargepump, Via3, 57.45, 18.5, 0.19, 0.19, 1, 6, 0, 0.41)
A(mosnegchargepump, Via3, 65.54, 18.5, 0.19, 0.19, 1, 6, 0, 0.41)
A(mosnegchargepump, Via3, 65.95, 18.5, 0.19, 0.19, 1, 6, 0, 0.41)
A(mosnegchargepump, Via3, 74.04, 18.5, 0.19, 0.19, 1, 6, 0, 0.41)
A(mosnegchargepump, Via3, 74.45, 18.5, 0.19, 0.19, 1, 6, 0, 0.41)
A(mosnegchargepump, Via3, 82.54, 18.5, 0.19, 0.19, 1, 6, 0, 0.41)
A(mosnegchargepump, Via3, 82.95, 18.5, 0.19, 0.19, 1, 6, 0, 0.41)
R(mosnegchargepump, Via3, [(43.47,9.525,43.66,9.715), (44.515,22.015,44.705,22.205)])
A(mosnegchargepump, Metal4, 48.4, 10.04, 0.9, 2.8, 5, 2, 8.5, 8.15)
R(mosnegchargepump, Metal4, [(43.23,9.34,44.04,9.93), (44.25,21.77,44.97,22.49)])
A(mosnegchargepump, Via4, 48.54, 10.29, 0.19, 0.19, 1, 6, 0, 0.41)
A(mosnegchargepump, Via4, 48.95, 10.29, 0.19, 0.19, 1, 6, 0, 0.41)
A(mosnegchargepump, Via4, 57.04, 10.29, 0.19, 0.19, 1, 6, 0, 0.41)
A(mosnegchargepump, Via4, 57.45, 10.29, 0.19, 0.19, 1, 6, 0, 0.41)
A(mosnegchargepump, Via4, 65.54, 10.29, 0.19, 0.19, 1, 6, 0, 0.41)
A(mosnegchargepump, Via4, 65.95, 10.29, 0.19, 0.19, 1, 6, 0, 0.41)
A(mosnegchargepump, Via4, 74.04, 10.29, 0.19, 0.19, 1, 6, 0, 0.41)
A(mosnegchargepump, Via4, 74.45, 10.29, 0.19, 0.19, 1, 6, 0, 0.41)
A(mosnegchargepump, Via4, 82.54, 10.29, 0.19, 0.19, 1, 6, 0, 0.41)
A(mosnegchargepump, Via4, 82.95, 10.29, 0.19, 0.19, 1, 6, 0, 0.41)
A(mosnegchargepump, Via4, 48.54, 18.5, 0.19, 0.19, 1, 6, 0, 0.41)
A(mosnegchargepump, Via4, 48.95, 18.5, 0.19, 0.19, 1, 6, 0, 0.41)
A(mosnegchargepump, Via4, 57.04, 18.5, 0.19, 0.19, 1, 6, 0, 0.41)
A(mosnegchargepump, Via4, 57.45, 18.5, 0.19, 0.19, 1, 6, 0, 0.41)
A(mosnegchargepump, Via4, 65.54, 18.5, 0.19, 0.19, 1, 6, 0, 0.41)
A(mosnegchargepump, Via4, 65.95, 18.5, 0.19, 0.19, 1, 6, 0, 0.41)
A(mosnegchargepump, Via4, 74.04, 18.5, 0.19, 0.19, 1, 6, 0, 0.41)
A(mosnegchargepump, Via4, 74.45, 18.5, 0.19, 0.19, 1, 6, 0, 0.41)
A(mosnegchargepump, Via4, 82.54, 18.5, 0.19, 0.19, 1, 6, 0, 0.41)
A(mosnegchargepump, Via4, 82.95, 18.5, 0.19, 0.19, 1, 6, 0, 0.41)
R(mosnegchargepump, Via4, [(43.47,9.53,43.66,9.72), (44.515,22.015,44.705,22.205)])
A(mosnegchargepump, Metal5, 48.4, 10.04, 0.9, 2.8, 5, 2, 8.5, 8.15)
R(mosnegchargepump, Metal5, [(52.26,0,77.76,8), (78.26,0,86.26,8), (44.635,7.745,45.125,8), (44.26,8,45.45,9.03), (43.23,9.03,45.45,9.52), (43.23,9.52,44.04,9.93), (44.25,21.77,44.97,23), (43.75,23,86.26,31)])
A(mosnegchargepump, TopVia1, 48.63, 10.36, 0.42, 0.42, 5, 3, 8.5, 0.84)
A(mosnegchargepump, TopVia1, 48.63, 18.57, 0.42, 0.42, 5, 3, 8.5, 0.84)
A(mosnegchargepump, TopMetal1, 53.56, 0.8, 6.4, 6.4, 4, 1, 8.5, 0)
A(mosnegchargepump, TopMetal1, 48.11, 9.76, 2.45, 3.29, 5, 2, 8.5, 8.22)
A(mosnegchargepump, TopMetal1, 45.06, 23.8, 6.4, 6.4, 5, 1, 8.5, 0)
R(mosnegchargepump, TopMetal1, [(46.72,2.56,49.72,5.56)])
A(mosnegchargepump, Vmim, 54.03, 1.27, 0.42, 0.42, 5, 5, 1.26, 1.26)
A(mosnegchargepump, Vmim, 62.53, 1.27, 0.42, 0.42, 5, 5, 1.26, 1.26)
A(mosnegchargepump, Vmim, 71.03, 1.27, 0.42, 0.42, 5, 5, 1.26, 1.26)
A(mosnegchargepump, Vmim, 79.53, 1.27, 0.42, 0.42, 5, 5, 1.26, 1.26)
A(mosnegchargepump, Vmim, 45.53, 24.27, 0.42, 0.42, 5, 5, 1.26, 1.26)
A(mosnegchargepump, Vmim, 54.03, 24.27, 0.42, 0.42, 5, 5, 1.26, 1.26)
A(mosnegchargepump, Vmim, 62.53, 24.27, 0.42, 0.42, 5, 5, 1.26, 1.26)
A(mosnegchargepump, Vmim, 71.03, 24.27, 0.42, 0.42, 5, 5, 1.26, 1.26)
A(mosnegchargepump, Vmim, 79.53, 24.27, 0.42, 0.42, 5, 5, 1.26, 1.26)
A(mosnegchargepump, TopVia2, 47.77, 3.61, 0.9, 0.9, 5, 1, 8.5, 0)
A(mosnegchargepump, TopVia2, 48.98, 10.96, 0.9, 0.9, 5, 2, 8.5, 8.21)
A(mosnegchargepump, TopVia2, 47.66, 26.6, 0.9, 0.9, 5, 1, 8.5, 0)
A(mosnegchargepump, TopMetal2, 45.06, 0.8, 6.4, 6.4, 5, 2, 8.5, 23)
A(mosnegchargepump, TopMetal2, 48.11, 7.2, 2.46, 3.53, 5, 1, 8.5, 0)
A(mosnegchargepump, TopMetal2, 48.11, 10.73, 2.45, 2.32, 5, 1, 8.5, 0)
A(mosnegchargepump, TopMetal2, 48.11, 17.98, 2.45, 3.19, 5, 1, 8.5, 0)
A(mosnegchargepump, TopMetal2, 48.1, 21.17, 2.46, 2.63, 5, 1, 8.5, 0)
mosnegchargepump.add(gdstk.Reference(nonovclkgen, (22.2,-6.58)))
mosnegchargepump.add(gdstk.Reference(cap_cmim_tqjpta, (48.26,4)))

lib.write_gds('MOSNegChargePump.gds')
